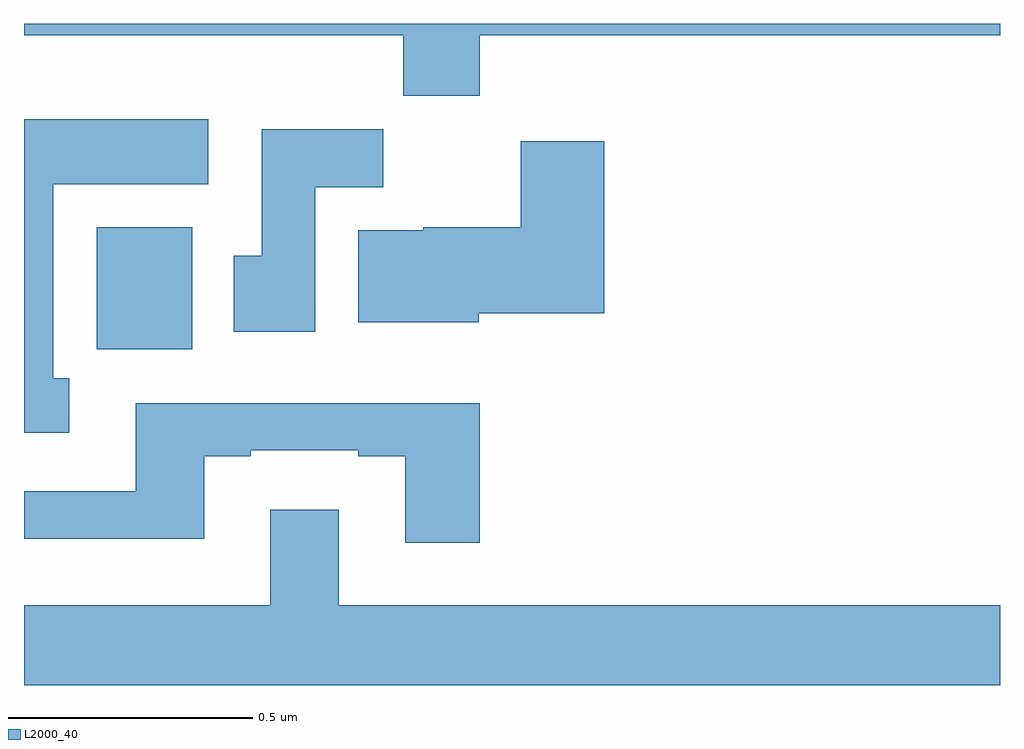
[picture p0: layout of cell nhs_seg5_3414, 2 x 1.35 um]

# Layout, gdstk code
import gdstk
lib = gdstk.Library(unit=1e-6, precision=1e-09)
def R(c, l, rs):  # rectangles x0, y0, x1, y1
    for r in rs: c.add(gdstk.rectangle(r[:2], r[2:], *l))
def P(c, l, *ps):  # polygons
    for p in ps: c.add(gdstk.Polygon(p, *l))
L2000_40 = (2000, 40)

nhs_seg5_3414 = lib.new_cell('nhs_seg5_3414')
R(nhs_seg5_3414, L2000_40, [(157.149,840.132,157.345,840.382)])
P(nhs_seg5_3414, L2000_40, [(157.934,840.776),(159,840.776),(159,840.799),(157,840.799),(157,840.776),(157.777,840.776),(157.777,840.652),(157.934,840.652)],
  [(157.093,840.073),(157.06,840.073),(157.06,840.47),(157.378,840.47),(157.378,840.604),(157,840.604),(157,839.961),(157.093,839.961)],
  [(157.597,840.464),(157.736,840.464),(157.736,840.583),(157.487,840.583),(157.487,840.324),(157.43,840.324),(157.43,840.168),(157.597,840.168)],
  [(157.932,840.206),(158.189,840.206),(158.189,840.559),(158.018,840.559),(158.018,840.382),(157.818,840.382),(157.818,840.376),(157.685,840.376),(157.685,840.188),(157.932,840.188)],
  [(157.934,840.022),(157.229,840.022),(157.229,839.841),(157,839.841),(157,839.744),(157.369,839.744),(157.369,839.913),(157.465,839.913),(157.465,839.925),(157.685,839.925),(157.685,839.913),(157.781,839.913),(157.781,839.736),(157.934,839.736)],
  [(159,839.608),(157.645,839.608),(157.645,839.803),(157.505,839.803),(157.505,839.608),(157,839.608),(157,839.444),(159,839.444)])

lib.write_gds('nhs_seg5_3414.gds')
